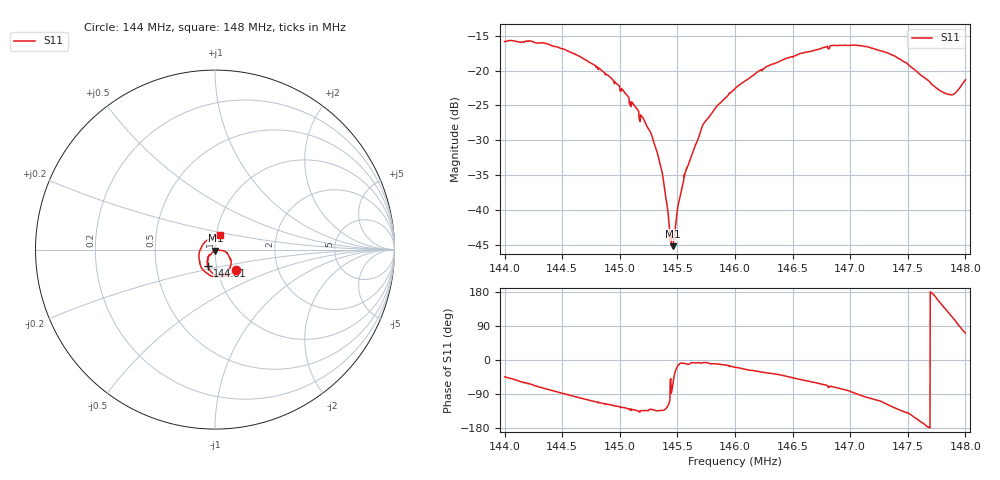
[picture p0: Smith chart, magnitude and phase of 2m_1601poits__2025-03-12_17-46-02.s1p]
! NanoVNA-App
! Date: 2025-03-12 17:46:29
! Start: 144MHz Stop: 148MHz Points: 1601
! S-Parameter data: F S11
# Hz S RI R 50
!  Frequency  S11_Real  S11_Imag
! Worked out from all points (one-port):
!   1601 points, 144 MHz to 148 MHz, reference 50 ohm
!   lowest |S11| = -45.2 dB at 145.46 MHz (marker M1), VSWR 1.01, Z = 50.2 - j0.52 ohm
!   |S11| at or under -10 dB: start of sweep to end of sweep
!   S11 on the Smith chart (normalised r, x): 144 MHz: 1.22, -0.28; 144.81 MHz: 0.91, -0.17; 148 MHz: 1.04, +0.17
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1.44e8  0.1152 -0.1129
1.442275e8  0.0716 -0.146
1.445e8  0.00623 -0.1434
1.448125e8  -0.0405 -0.093
1.45e8  -0.0411 -0.0622
1.45145e8  -0.0366 -0.0392
1.452825e8  -0.0216 -0.0251
1.453625e8  -0.0133 -0.0141
1.454e8  -0.00755 -0.00953
1.4544e8  0.00391 -0.00511
1.454575e8  0.00186 -0.00519
1.454725e8  0.00478 -0.00421
1.455e8  0.00971 -0.0028
1.455225e8  0.0122 -0.002
1.45575e8  0.019 -0.00333
1.4572e8  0.0403 -0.0054
1.458425e8  0.0546 -0.0102
1.46e8  0.0702 -0.0243
1.4628e8  0.0889 -0.06
1.465e8  0.0848 -0.0916
1.46845e8  0.0506 -0.1424
1.47e8  0.0187 -0.1504
1.473125e8  -0.0588 -0.1214
1.475e8  -0.0837 -0.0721
1.476775e8  -0.0849 -0.00417
1.4784e8  -0.0435 0.0521
1.47905e8  -0.0196 0.0652
1.48e8  0.0277 0.0812
